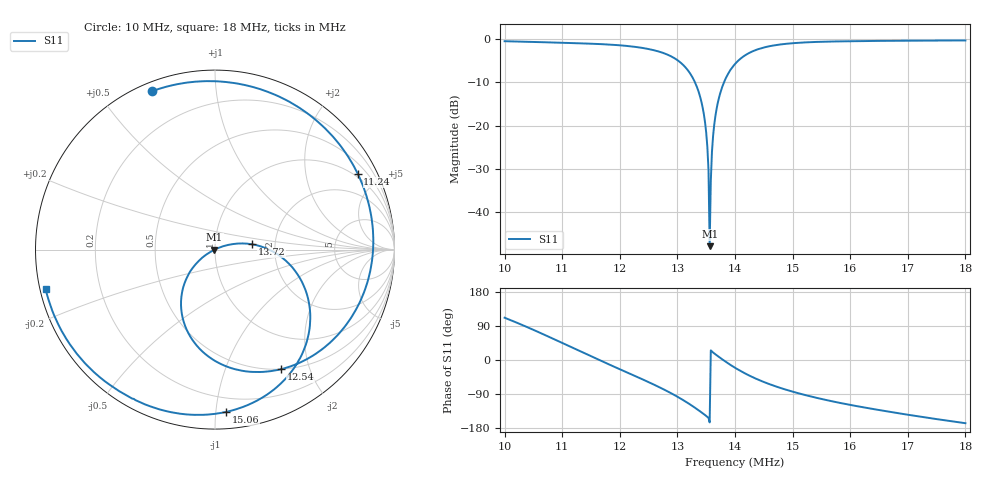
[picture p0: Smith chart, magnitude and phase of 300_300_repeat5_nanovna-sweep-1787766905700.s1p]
! S11 from 300_300_repeat5_nanovna-sweep-1787766905700.csv, converted by the rf-network-modeller history importer
# HZ S RI R 50
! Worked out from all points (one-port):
!   401 points, 10 MHz to 18 MHz, reference 50 ohm
!   lowest |S11| = -47.9 dB at 13.56 MHz (marker M1), VSWR 1.01, Z = 49.6 - j0.105 ohm
!   |S11| at or under -10 dB: 13.31 MHz to 13.81 MHz (502.4 kHz wide, 3.71 % of centre)
!   S11 on the Smith chart (normalised r, x): 10 MHz: 0.04, +0.68; 11.24 MHz: 0.86, +3.83; 12.54 MHz: 0.50, -1.58; 13.72 MHz: 1.51, +0.09; 15.06 MHz: 0.11, -1.07; 18 MHz: 0.02, -0.12
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1e7  -0.3491 0.8832
1.05e7  0.1682 0.9165
1.1e7  0.6442 0.6433
1.124e7  0.7953 0.4226
1.162e7  0.8815 0.0227
1.2e7  0.776 -0.3508
1.254e7  0.3666 -0.6667
1.278e7  0.1316 -0.6711
1.3e7  -0.0685 -0.5693
1.324e7  -0.1878 -0.3347
1.34e7  -0.1509 -0.1447
1.348e7  -0.0896 -0.0622
1.35e7  -0.0703 -0.0443
1.352e7  -0.0492 -0.0281
1.356e7  -0.00387 -0.00106
1.36e7  0.0461 0.019
1.362e7  0.0721 0.0258
1.364e7  0.0983 0.0306
1.372e7  0.2054 0.0297
1.384e7  0.3529 -0.0289
1.4e7  0.485 -0.1809
1.436e7  0.4918 -0.5666
1.466e7  0.3286 -0.7795
1.5e7  0.1015 -0.8944
1.506e7  0.0619 -0.9043
1.6e7  -0.4519 -0.8321
1.7e7  -0.7848 -0.561
1.8e7  -0.9433 -0.2216
